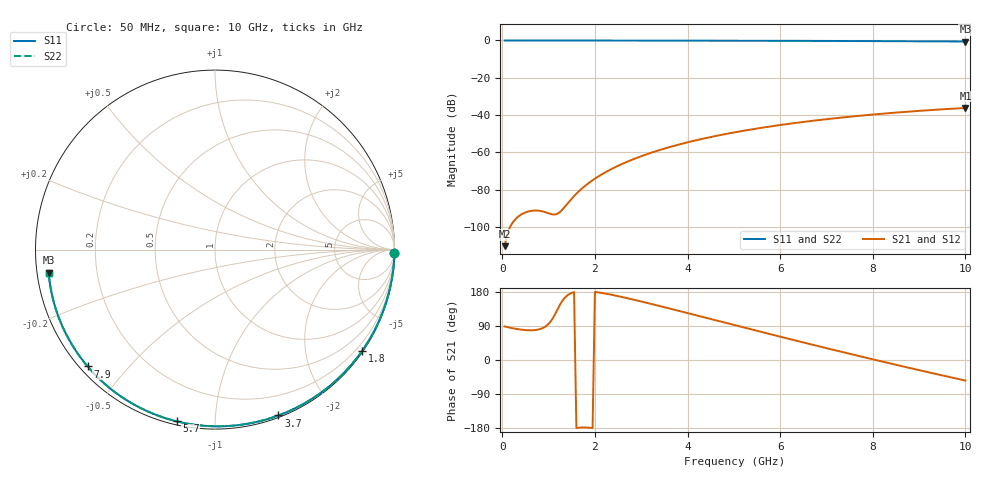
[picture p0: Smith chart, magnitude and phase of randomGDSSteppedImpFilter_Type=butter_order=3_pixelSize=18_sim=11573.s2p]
! freq	dB(S11)	phase(S11)	dB(S12)	phase(S12)
!  dB(S21)	phase(S21)	dB(S22)	phase(S22)
!S-par simulation data
#  GHz  S  DB  R 50
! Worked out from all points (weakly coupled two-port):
!   200 points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, 50 MHz to 10 GHz, reference 50 ohm
!   highest |S21| = -36.17 dB at 10 GHz (marker M1); lowest = -110.2 dB at 50 MHz (marker M2)
!   lowest |S11| = -0.6 dB at 10 GHz (marker M3), VSWR 30.17, Z = 1.67 - j3.45 ohm
!   |S11| at or under -10 dB: nowhere
!   |S22| runs from -0.6 to 0.0 dB; largest |S21 - S12| = 0
!   S11 on the Smith chart (normalised r, x): 50 MHz: open; 1.8 GHz: 0.03, -3.21; 3.7 GHz: 0.02, -1.45; 5.7 GHz: 0.02, -0.80; 7.9 GHz: 0.02, -0.39; 10 GHz: 0.03, -0.07
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0.05  -0.00 -1.0  -110.19 88.5  -110.19 88.5  -0.00 -1.0
0.45  -0.01 -8.8  -92.67 79.5  -92.67 79.5  -0.01 -8.8
0.85  -0.02 -16.5  -91.45 83.0  -91.45 83.0  -0.02 -16.5
1.65  -0.04 -31.8  -80.86 -178.5  -80.86 -178.5  -0.04 -31.8
1.7  -0.04 -32.7  -79.73 -178.1  -79.73 -178.1  -0.04 -32.7
1.75  -0.04 -33.7  -78.66 -178.0  -78.66 -178.0  -0.04 -33.7
1.8  -0.04 -34.6  -77.64 -178.1  -77.64 -178.1  -0.04 -34.6
2.1  -0.05 -40.2  -72.45 177.9  -72.45 177.9  -0.05 -40.2
2.45  -0.06 -46.7  -67.73 169.9  -67.73 169.9  -0.06 -46.7
2.9  -0.07 -54.9  -62.93 157.4  -62.93 157.4  -0.07 -54.9
3.4  -0.08 -63.8  -58.68 142.4  -58.68 142.4  -0.08 -63.8
3.7  -0.09 -69.1  -56.51 133.1  -56.51 133.1  -0.09 -69.1
4.35  -0.11 -80.3  -52.53 112.8  -52.53 112.8  -0.11 -80.3
5.05  -0.14 -92.0  -49.07 90.9  -49.07 90.9  -0.14 -92.0
5.7  -0.17 -102.6  -46.39 70.8  -46.39 70.8  -0.17 -102.6
6.2  -0.20 -110.6  -44.62 55.4  -44.62 55.4  -0.20 -110.6
6.7  -0.23 -118.6  -43.04 40.3  -43.04 40.3  -0.23 -118.6
7.3  -0.28 -128.0  -41.37 22.3  -41.37 22.3  -0.28 -128.0
7.9  -0.33 -137.5  -39.91 4.7  -39.91 4.7  -0.33 -137.5
8.35  -0.37 -144.6  -38.94 -8.3  -38.94 -8.3  -0.37 -144.6
9.2  -0.47 -158.5  -37.37 -32.4  -37.37 -32.4  -0.47 -158.5
10  -0.58 -172.1  -36.17 -54.2  -36.17 -54.2  -0.58 -172.1
